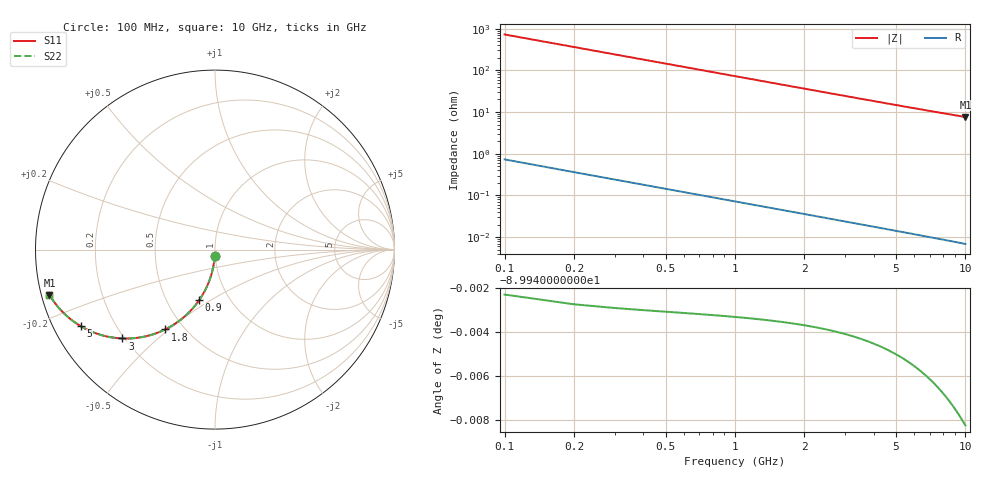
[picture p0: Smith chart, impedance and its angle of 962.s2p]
# Hz S RI R 50.00
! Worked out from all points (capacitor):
!   100 points, 100 MHz to 10 GHz, reference 50 ohm
!   read as one part in shunt: C = 2.2 pF near 100 MHz
!   lowest |Z| = 7.6 ohm at 10 GHz (marker M1)
!   S11 on the Smith chart (normalised r, x): 100 MHz: 1.00, -0.07; 900 MHz: 0.72, -0.45; 1.8 GHz: 0.40, -0.49; 3 GHz: 0.19, -0.39; 5 GHz: 0.08, -0.26; 10 GHz: 0.02, -0.13
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1e8  -0.0012 -0.0343  0.9988 -0.0346  0.9988 -0.0346  -0.0012 -0.0343
2e8  -0.00479 -0.0684  0.9952 -0.0689  0.9952 -0.0689  -0.00479 -0.0684
3e8  -0.0107 -0.102  0.9893 -0.1028  0.9893 -0.1028  -0.0107 -0.102
4e8  -0.0188 -0.1348  0.9812 -0.1359  0.9812 -0.1359  -0.0188 -0.1348
5e8  -0.029 -0.1668  0.9709 -0.1681  0.9709 -0.1681  -0.029 -0.1668
6e8  -0.0412 -0.1976  0.9587 -0.1992  0.9587 -0.1992  -0.0412 -0.1976
7e8  -0.0553 -0.2271  0.9447 -0.229  0.9447 -0.229  -0.0553 -0.2271
9e8  -0.0881 -0.2817  0.9119 -0.2841  0.9119 -0.2841  -0.0881 -0.2817
1.1e9  -0.1259 -0.3298  0.874 -0.3328  0.874 -0.3328  -0.1259 -0.3298
1.3e9  -0.1674 -0.3711  0.8325 -0.3746  0.8325 -0.3746  -0.1674 -0.3711
1.5e9  -0.211 -0.4055  0.7889 -0.4096  0.7889 -0.4096  -0.211 -0.4055
1.8e9  -0.2778 -0.445  0.7221 -0.4499  0.7221 -0.4499  -0.2778 -0.445
2.4e9  -0.4056 -0.4872  0.5943 -0.4938  0.5943 -0.4938  -0.4056 -0.4872
3e9  -0.5156 -0.4951  0.4843 -0.5034  0.4843 -0.5034  -0.5156 -0.4951
3.4e9  -0.5773 -0.4888  0.4226 -0.4982  0.4226 -0.4982  -0.5773 -0.4888
4.2e9  -0.6754 -0.4618  0.3244 -0.4736  0.3244 -0.4736  -0.6754 -0.4618
5e9  -0.7466 -0.4274  0.2532 -0.4414  0.2532 -0.4414  -0.7466 -0.4274
5.1e9  -0.754 -0.4229  0.2458 -0.4373  0.2458 -0.4373  -0.754 -0.4229
5.9e9  -0.804 -0.388  0.1958 -0.4048  0.1958 -0.4048  -0.804 -0.388
6.7e9  -0.841 -0.3555  0.1587 -0.3746  0.1587 -0.3746  -0.841 -0.3555
8.4e9  -0.8929 -0.2964  0.1068 -0.3207  0.1068 -0.3207  -0.8929 -0.2964
1e10  -0.9222 -0.2523  0.0773 -0.2815  0.0773 -0.2815  -0.9222 -0.2523
